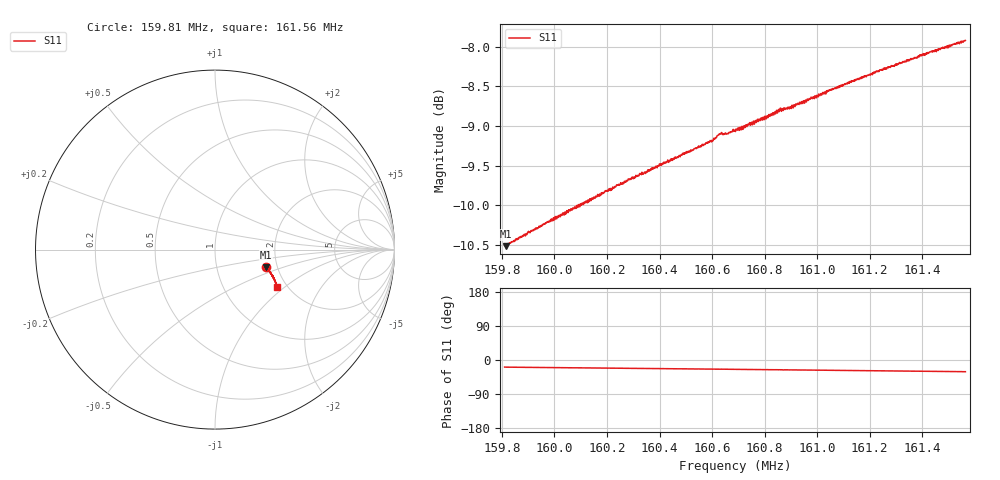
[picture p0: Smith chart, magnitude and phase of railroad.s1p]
! Calibrated averaged scanner-service zoom
# Hz S RI R 50
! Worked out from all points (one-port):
!   1001 points, 159.81 MHz to 161.56 MHz, reference 50 ohm
!   lowest |S11| = -10.5 dB at 159.81 MHz (marker M1), VSWR 1.85, Z = 86.8 - j18.4 ohm
!   |S11| at or under -10 dB: start of sweep to 160.0903 MHz; 160.0915 MHz to 160.0941 MHz (2.563 kHz wide, 0.0016 % of centre); 160.0945 MHz to 160.097 MHz (2.469 kHz wide, 0.00154 % of centre)
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1.5981e8  0.2826 -0.0959
1.598135e8  0.282 -0.0964
1.599802e8  0.2904 -0.1054
1.600294e8  0.2924 -0.1081
1.600627e8  0.2948 -0.11
1.601312e8  0.2976 -0.1137
1.601926e8  0.3007 -0.1177
1.602119e8  0.3008 -0.1185
1.602488e8  0.3026 -0.1206
1.602874e8  0.3043 -0.1233
1.603453e8  0.3068 -0.1261
1.604085e8  0.309 -0.1302
1.604681e8  0.3119 -0.1338
1.605962e8  0.3169 -0.1415
1.606278e8  0.3196 -0.1438
1.606542e8  0.3192 -0.1449
1.606875e8  0.3207 -0.147
1.607173e8  0.3204 -0.1482
1.607437e8  0.3231 -0.1508
1.608139e8  0.3243 -0.1552
1.608525e8  0.327 -0.1579
1.608823e8  0.3272 -0.16
1.609069e8  0.3276 -0.1606
1.611262e8  0.3347 -0.1757
1.612316e8  0.3376 -0.1832
1.613456e8  0.3401 -0.1907
1.614281e8  0.3424 -0.197
1.61565e8  0.3447 -0.2063
